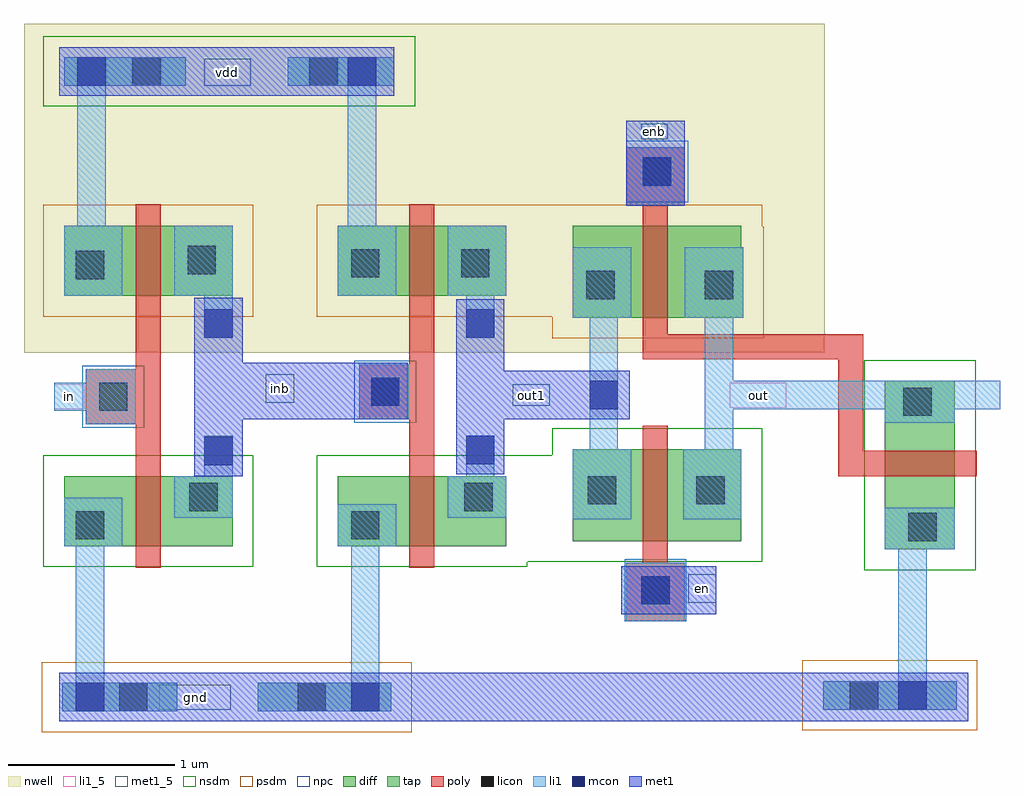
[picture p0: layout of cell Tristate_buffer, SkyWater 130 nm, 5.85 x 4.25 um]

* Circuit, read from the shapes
.subckt Tristate_buffer en enb gnd in inb out out1 vdd
XM1 inb in gnd gnd sky130_fd_pr__nfet_01v8 w=0.42 l=0.15
XM2 out1 inb gnd gnd sky130_fd_pr__nfet_01v8 w=0.42 l=0.15
XM3 out en out1 gnd sky130_fd_pr__nfet_01v8 w=0.55 l=0.15
XM4 out enb gnd gnd sky130_fd_pr__nfet_01v8 w=0.42 l=0.15
XM5 inb in vdd vdd sky130_fd_pr__pfet_01v8 w=0.42 l=0.15
XM6 out1 inb vdd vdd sky130_fd_pr__pfet_01v8 w=0.42 l=0.15
XM7 out enb out1 vdd sky130_fd_pr__pfet_01v8 w=0.55 l=0.15
.ends

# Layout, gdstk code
import gdstk
lib = gdstk.Library(unit=1e-6, precision=1e-09)
def R(c, l, rs):  # rectangles x0, y0, x1, y1
    for r in rs: c.add(gdstk.rectangle(r[:2], r[2:], *l))
nwell = (64, 20)
diff = (65, 20)
tap = (65, 44)
poly = (66, 20)
licon = (66, 44)
li1_5 = (67, 5)
li1 = (67, 20)
mcon = (67, 44)
met1_5 = (68, 5)
met1 = (68, 20)
nsdm = (93, 44)
psdm = (94, 20)
npc = (95, 20)

tristate_buffer = lib.new_cell('Tristate_buffer')
R(tristate_buffer, nwell, [(3.51,3.81,8.31,5.78)])
R(tristate_buffer, diff, [(8.67,2.63,9.09,3.64), (3.75,2.65,4.76,3.07), (5.39,2.65,6.4,3.07), (6.8,2.68,7.81,3.23), (6.8,4.02,7.82,4.44), (3.75,4.15,4.76,4.57), (5.39,4.15,6.4,4.57), (6.8,4.44,7.81,4.57)])
R(tristate_buffer, tap, [(3.74,1.66,4.43,1.83), (4.91,1.66,5.71,1.83), (8.3,1.67,9.1,1.84), (3.75,5.41,4.48,5.58), (5.09,5.41,5.73,5.58)])
R(tristate_buffer, poly, [(7.12,2.2,7.47,2.55), (4.18,2.52,4.33,3.38), (5.82,2.52,5.97,3.41), (7.22,2.55,7.37,3.37), (8.39,3.07,9.22,3.22), (8.39,3.22,8.54,3.77), (3.88,3.38,4.33,3.71), (5.52,3.41,5.97,3.74), (4.18,3.71,4.33,4.7), (5.82,3.74,5.97,4.7), (7.22,3.77,8.54,3.92), (7.22,3.92,7.37,4.69), (7.12,4.69,7.47,5.04)])
R(tristate_buffer, licon, [(4.08,1.66,4.25,1.83), (5.15,1.66,5.32,1.83), (8.46,1.67,8.63,1.84), (7.21,2.3,7.38,2.47), (8.81,2.68,8.98,2.85), (3.82,2.69,3.99,2.86), (5.47,2.69,5.64,2.86), (4.5,2.86,4.67,3.03), (6.15,2.86,6.32,3.03), (6.89,2.9,7.06,3.07), (7.54,2.9,7.71,3.07), (8.78,3.43,8.95,3.6), (3.96,3.46,4.13,3.63), (5.59,3.49,5.76,3.66), (6.88,4.13,7.05,4.3), (7.59,4.13,7.76,4.3), (3.82,4.25,3.99,4.42), (5.47,4.26,5.64,4.43), (6.13,4.26,6.3,4.43), (4.49,4.28,4.66,4.45), (7.22,4.81,7.39,4.98), (4.16,5.41,4.33,5.58), (5.22,5.41,5.39,5.58)])
R(tristate_buffer, li1_5, [(3.69,3.47,3.87,3.62), (7.74,3.48,8.08,3.63)])
R(tristate_buffer, li1, [(3.74,1.66,4.43,1.83), (4.91,1.66,5.71,1.83), (8.3,1.67,9.1,1.84), (3.82,1.83,3.99,2.65), (5.47,1.83,5.64,2.65), (8.75,1.84,8.92,2.63), (7.12,2.2,7.47,2.55), (8.67,2.63,9.09,2.88), (3.75,2.65,4.1,2.94), (5.39,2.65,5.74,2.9), (6.8,2.81,7.15,3.23), (7.46,2.81,7.81,3.23), (4.41,2.82,4.76,3.07), (6.05,2.82,6.4,3.07), (4.59,3.07,4.76,3.31), (6.16,3.07,6.33,3.31), (6.9,3.23,7.07,4.02), (7.59,3.23,7.76,3.47), (3.88,3.38,4.18,3.46), (8.67,3.39,9.09,3.47), (5.52,3.41,5.82,3.74), (3.69,3.46,4.18,3.63), (7.59,3.47,9.36,3.64), (3.88,3.63,4.18,3.71), (7.59,3.64,7.76,4.02), (4.59,3.9,4.76,4.15), (6.16,3.9,6.33,4.15), (6.8,4.02,7.15,4.44), (7.47,4.02,7.82,4.44), (3.75,4.15,4.1,4.57), (4.41,4.15,4.76,4.57), (5.39,4.15,5.74,4.57), (6.05,4.15,6.4,4.57), (3.83,4.57,4,5.41), (5.45,4.57,5.62,5.41), (7.12,4.69,7.47,5.04), (3.75,5.41,4.48,5.58), (5.09,5.41,5.73,5.58)])
R(tristate_buffer, mcon, [(3.82,1.66,3.99,1.83), (5.47,1.66,5.64,1.83), (8.75,1.67,8.92,1.84), (7.21,2.3,7.38,2.47), (4.59,3.135,4.76,3.305), (6.16,3.14,6.33,3.31), (6.9,3.47,7.07,3.64), (5.59,3.49,5.76,3.66), (4.59,3.9,4.76,4.07), (6.16,3.9,6.33,4.07), (7.22,4.81,7.39,4.98), (3.83,5.41,4,5.58), (5.45,5.41,5.62,5.58)])
R(tristate_buffer, met1_5, [(4.32,1.67,4.75,1.82), (7.49,2.31,7.66,2.48), (6.44,3.49,6.66,3.62), (4.96,3.51,5.13,3.68), (7.21,5.09,7.37,5.18), (4.59,5.41,4.87,5.57)])
R(tristate_buffer, met1, [(3.72,1.6,9.17,1.89), (7.09,2.24,7.66,2.53), (4.53,3.07,4.82,3.41), (6.1,3.08,6.39,3.41), (4.53,3.41,5.81,3.75), (6.1,3.41,7.14,3.7), (6.1,3.7,6.39,4.13), (4.53,3.75,4.82,4.14), (7.12,4.69,7.47,5.2), (3.72,5.35,5.73,5.64)])
R(tristate_buffer, nsdm, [(8.545,2.505,9.215,3.765), (3.625,2.525,4.885,3.195), (5.265,2.525,6.525,2.555), (5.265,2.555,7.935,3.195), (6.675,3.195,7.935,3.355), (3.625,5.285,5.855,5.705)])
R(tristate_buffer, psdm, [(3.615,1.535,5.835,1.955), (8.175,1.545,9.225,1.965), (6.675,3.895,7.945,4.025), (3.625,4.025,4.885,4.695), (5.265,4.025,7.945,4.565), (5.265,4.565,7.935,4.695)])
R(tristate_buffer, npc, [(7.11,2.2,7.48,2.57), (3.86,3.36,4.23,3.73), (5.49,3.39,5.86,3.76), (7.12,4.71,7.49,5.08)])
tristate_buffer.add(gdstk.Label('in', (3.78,3.545), layer=67, texttype=5))
tristate_buffer.add(gdstk.Label('out', (7.91,3.555), layer=67, texttype=5))
tristate_buffer.add(gdstk.Label('gnd', (4.535,1.745), layer=68, texttype=5))
tristate_buffer.add(gdstk.Label('inb', (5.045,3.595), layer=68, texttype=5))
tristate_buffer.add(gdstk.Label('out1', (6.55,3.555), layer=68, texttype=5))
tristate_buffer.add(gdstk.Label('vdd', (4.73,5.49), layer=68, texttype=5))
tristate_buffer.add(gdstk.Label('en', (7.575,2.395), layer=68, texttype=5))
tristate_buffer.add(gdstk.Label('enb', (7.29,5.135), layer=68, texttype=5))

lib.write_gds('Tristate_buffer.gds')
